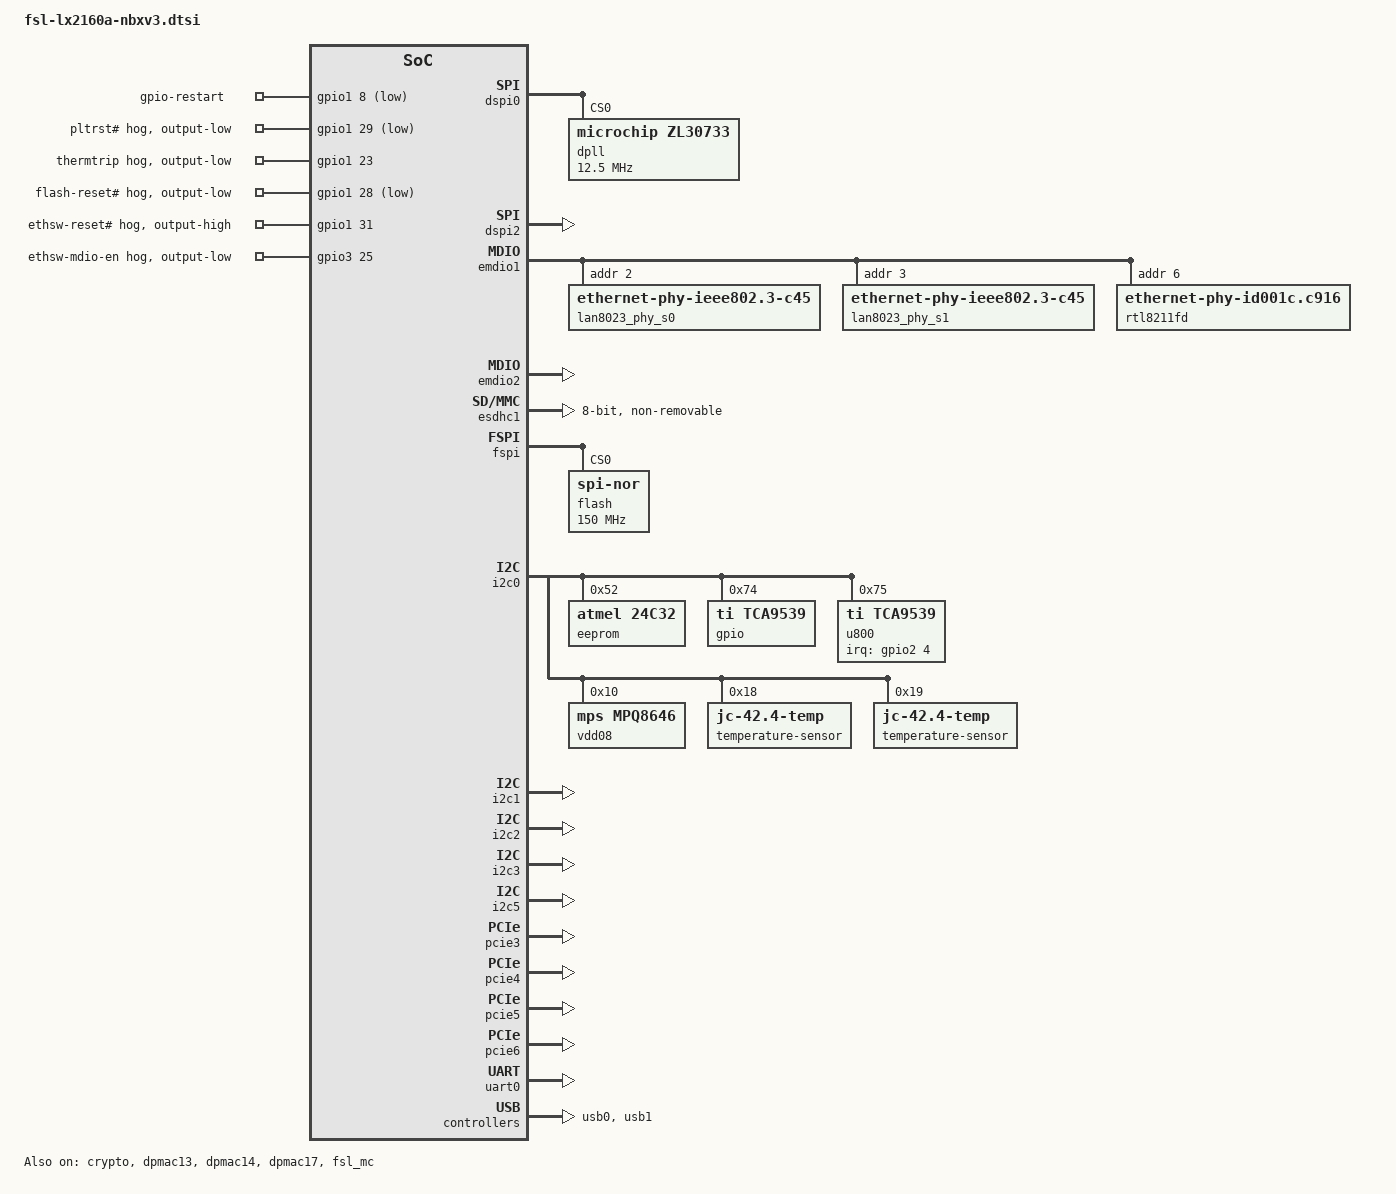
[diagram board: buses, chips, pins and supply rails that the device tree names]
// SPDX-License-Identifier: (GPL-2.0+ OR MIT)
/*
 * Free Mobile Nodebox v3 CPU Module (LX2160A)
 *
 * Copyright 2026 Free Mobile, Vincent Jardin
 *
 * This file is shared by the Linux kernel and U-Boot.
 */

#include <dt-bindings/gpio/gpio.h>
#include <dt-bindings/interrupt-controller/irq.h>

/ {
	aliases {
		serial0 = &uart0;
	};

	chosen {
		stdout-path = "serial0:115200n8";
	};

	gpio-restart {
		compatible = "gpio-restart";
		gpios = <&gpio1 8 GPIO_ACTIVE_LOW>;
		priority = <128>;
	};
};

&crypto {
	status = "okay";
};

&dspi0 {
	status = "okay";

	dpll@0 {
		compatible = "microchip,zl30733";
		reg = <0>;
		spi-max-frequency = <12500000>;
	};
};

&dspi2 {
	status = "okay";
};

&dpmac13 {
	status = "okay";
	phy-handle = <&lan8023_phy_s0>;
	phy-connection-type = "10gbase-r";
};

&dpmac14 {
	status = "okay";
	phy-handle = <&lan8023_phy_s1>;
	phy-connection-type = "10gbase-r";
};

&dpmac17 {
	status = "okay";
	phy-handle = <&rtl8211fd>;
	phy-connection-type = "rgmii-id";
};

&emdio1 {
	status = "okay";

	/* Microchip LAN8023 dual 10G PCS/retimer, Clause 45 only, one address per slice */
	lan8023_phy_s0: ethernet-phy@2 {
		compatible = "ethernet-phy-ieee802.3-c45";
		reg = <2>;
	};

	lan8023_phy_s1: ethernet-phy@3 {
		compatible = "ethernet-phy-ieee802.3-c45";
		reg = <3>;
	};

	rtl8211fd: ethernet-phy@6 {
		compatible = "ethernet-phy-id001c.c916";
		reg = <6>;
	};
};

&emdio2 {
	status = "okay";
};

&esdhc1 {
	status = "okay";
	bus-width = <8>;
	non-removable;
	mmc-hs200-1_8v;
	mmc-hs400-1_8v;
};

&fspi {
	status = "okay";

	/* GigaDevice GD55LB02GF, 256 MiB boot NOR */
	flash@0 {
		compatible = "jedec,spi-nor";
		reg = <0>;
		#address-cells = <1>;
		#size-cells = <1>;
		spi-max-frequency = <150000000>;
		spi-rx-bus-width = <1>;
		spi-tx-bus-width = <1>;
	};
};

&fsl_mc {
	status = "okay";
};

&gpio0 {
	status = "okay";
	gpio-line-names =
		"", "",
		"altfn:iic1-sda", "altfn:iic1-scl",
		"altfn:uart4-sin", "altfn:uart4-sout",
		"altfn:uart2-sin", "altfn:uart2-sout",
		"altfn:uart3-sin", "altfn:uart3-sout",
		"altfn:uart1-sin", "altfn:uart1-sout",
		"altfn:spi3-pcs3", "altfn:spi3-pcs2",
		"altfn:spi3-pcs1", "altfn:spi3-pcs0",
		"altfn:spi1-sck", "altfn:spi1-sin",
		"altfn:spi1-pcs2", "altfn:spi1-pcs1",
		"altfn:spi1-pcs0", "altfn:spi1-sout",
		"altfn:iic6-sda", "altfn:iic6-scl",
		"altfn:spi3-sin", "altfn:spi3-sout",
		"altfn:iic4-sda", "altfn:iic4-scl",
		"altfn:iic3-sda", "altfn:iic3-scl",
		"altfn:iic2-sda", "altfn:iic2-scl";
};

&gpio1 {
	status = "okay";
	gpio-line-names =
		"", "", "", "", "", "",
		"cfg-rcw-src2", "cfg-rcw-src3",
		"reset-req-b",
		"altfn:sdhc2-clk", "altfn:sdhc2-ds",
		"altfn:sdhc2-dat0", "altfn:sdhc2-dat1",
		"altfn:sdhc2-dat2", "altfn:sdhc2-dat3",
		"altfn:sdhc2-dat4", "altfn:sdhc2-dat5",
		"altfn:sdhc2-dat6", "altfn:sdhc2-dat7",
		"altfn:sdhc2-cmd",
		"cfg-svr1",
		"altfn:xspi1-cs0", "altfn:xspi1-sck",
		"thermtrip",
		"altfn:xspi1-data0", "altfn:xspi1-data1",
		"", "",
		"flash-reset#", "pltrst#", "", "ethsw-reset#";

	pltrst-hog {
		gpio-hog;
		gpios = <29 GPIO_ACTIVE_LOW>;
		output-low;
		line-name = "pltrst#";
	};

	thermtrip-hog {
		gpio-hog;
		gpios = <23 GPIO_ACTIVE_HIGH>;
		output-low;
		line-name = "thermtrip";
	};

	/* Boot NOR reset, released: electrical high */
	flash-reset-hog {
		gpio-hog;
		gpios = <28 GPIO_ACTIVE_LOW>;
		output-low;
		line-name = "flash-reset#";
	};

	/* Ethernet switch reset, released: electrical high */
	ethsw-reset-hog {
		gpio-hog;
		gpios = <31 GPIO_ACTIVE_HIGH>;
		output-high;
		line-name = "ethsw-reset#";
	};
};

&gpio2 {
	status = "okay";
	gpio-line-names =
		"lan8023-mdint",
		"i2c2-alert#", "i2c4-alert#", "i2c6-alert#",
		"u800-tca9539-int#",
		"spi3-alert#",
		"wake0", "wake1",
		"carrier-hot#",
		"u1300-rtl8211fd-int#",
		"ethsw-int#",
		"", "",
		"u1700-zl30733-clk-gpio0", "u1700-zl30733-clk-gpio1",
		"u1700-zl30733-clk-gpio2", "u1700-zl30733-clk-gpio3",
		"", "", "", "", "", "", "", "",
		"", "", "", "", "", "", "";
};

&gpio3 {
	status = "okay";
	gpio-line-names =
		"altfn:ec1-txd3", "altfn:ec1-txd2",
		"altfn:ec1-txd1", "altfn:ec1-txd0",
		"altfn:ec1-tx-en", "altfn:ec1-gtx-clk",
		"altfn:ec1-rxd3", "altfn:ec1-rxd2",
		"altfn:ec1-rxd1", "altfn:ec1-rxd0",
		"altfn:ec1-rx-clk", "altfn:ec1-rx-dv",
		"", "",
		"ptp-refclk-in",
		"", "", "", "", "", "", "", "",
		"u1700-zl30733-pps-out",
		"",
		"ethsw-mdio-en",
		"usb01-oc#",	/* USB1_PWRFAULT and USB2_PWRFAULT share one net */
		"",
		"usb01-oc#",
		"altfn:spi3-sck",
		"", "";

	/* Low enables the carrier-side EMDIO2 level translator */
	ethsw-mdio-en-hog {
		gpio-hog;
		gpios = <25 GPIO_ACTIVE_HIGH>;
		output-low;
		line-name = "ethsw-mdio-en";
	};
};

/* On-module management bus */
&i2c0 {
	status = "okay";

	eeprom@52 {
		compatible = "atmel,24c32";
		reg = <0x52>;
		pagesize = <32>;
	};

	/* Board ID straps */
	gpio@74 {
		compatible = "ti,tca9539";
		reg = <0x74>;
		gpio-controller;
		#gpio-cells = <2>;
		gpio-line-names =
			"boardid-0x0001", "boardid-0x0002",
			"boardid-0x0004", "boardid-0x0008",
			"boardid-0x0010", "boardid-0x0020",
			"boardid-0x0040", "boardid-0x0080",
			"boardid-0x0100", "boardid-0x0200",
			"boardid-0x0400", "boardid-0x0800",
			"boardid-0x1000", "boardid-0x2000",
			"boardid-0x4000", "boardid-0x8000";
	};

	u800: gpio@75 {
		compatible = "ti,tca9539";
		reg = <0x75>;
		gpio-controller;
		#gpio-cells = <2>;
		interrupt-controller;
		#interrupt-cells = <2>;
		interrupt-parent = <&gpio2>;
		interrupts = <4 IRQ_TYPE_LEVEL_LOW>;
		gpio-line-names =
			"carrier-gpio0", "carrier-gpio1",
			"carrier-gpio2", "carrier-gpio3",
			"carrier-gpio4", "carrier-gpio5",
			"carrier-gpio6", "carrier-gpio7",
			"carrier-gpio8", "carrier-gpio9",
			"carrier-gpio10", "carrier-gpio11",
			"", "", "",
			"lan8023-rst";
	};

	/* +0V8_VDD core rail, MPS MPQ8646 (MPQ8785 core) over PMBus */
	vdd08: regulator@10 {
		compatible = "mps,mpq8646";
		reg = <0x10>;
	};

	/* SO-DIMM SPD temperature sensors */
	temperature-sensor@18 {
		compatible = "jedec,jc-42.4-temp";
		reg = <0x18>;
	};

	temperature-sensor@19 {
		compatible = "jedec,jc-42.4-temp";
		reg = <0x19>;
	};
};

&i2c1 {
	status = "okay";
};

&i2c2 {
	status = "okay";
};

&i2c3 {
	status = "okay";
};

&i2c5 {
	status = "okay";
};

&pcie3 {
	status = "okay";
};

&pcie4 {
	status = "okay";
};

&pcie5 {
	status = "okay";
};

&pcie6 {
	status = "okay";
};

&uart0 {
	status = "okay";
};

&usb0 {
	status = "okay";
};

&usb1 {
	status = "okay";
};
